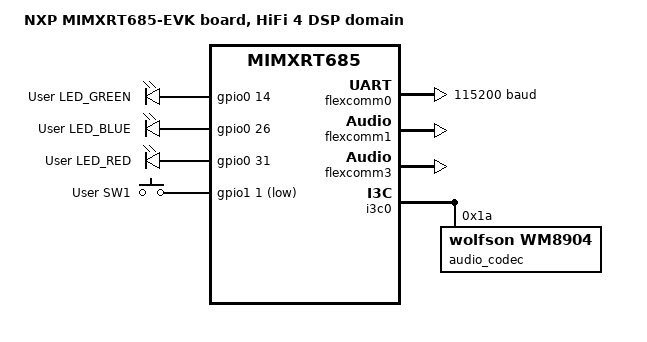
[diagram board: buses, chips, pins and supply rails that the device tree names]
/*
 * Copyright 2025 NXP
 * SPDX-License-Identifier: Apache-2.0
 */

/dts-v1/;

#include <nxp/nxp_rt685_hifi4.dtsi>
#include <zephyr/dt-bindings/gpio/gpio.h>

#include "mimxrt685_evk-pinctrl.dtsi"

/ {
	model = "NXP MIMXRT685-EVK board, HiFi 4 DSP domain";
	compatible = "nxp,mimxrt685";

	chosen {
		zephyr,console = &flexcomm0;
		zephyr,shell-uart = &flexcomm0;
	};

	aliases {
		led0 = &green_led;
		led1 = &blue_led;
		led2 = &red_led;
		sw0 = &user_button_1;
		mbox = &mbox;
	};

	leds: leds {
		compatible = "gpio-leds";

		green_led: led_1 {
			gpios = <&gpio0 14 0>;
			label = "User LED_GREEN";
		};

		blue_led: led_2 {
			gpios = <&gpio0 26 0>;
			label = "User LED_BLUE";
		};

		red_led: led_3 {
			gpios = <&gpio0 31 0>;
			label = "User LED_RED";
		};
	};

	gpio_keys {
		compatible = "gpio-keys";

		user_button_1: button_0 {
			label = "User SW1";
			gpios = <&gpio1 1 GPIO_ACTIVE_LOW>;
			zephyr,code = <INPUT_KEY_0>;
		};
	};
};

&gpio0 {
	status = "okay";
};

&dma1 {
	status = "okay";
};

&flexcomm0 {
	compatible = "nxp,lpc-usart";
	pinctrl-0 = <&pinmux_flexcomm0_usart>;
	pinctrl-names = "default";
	current-speed = <115200>;
	status = "okay";
};

/* I2S receive channel */
i2s0: &flexcomm1 {
	status = "okay";
	compatible = "nxp,lpc-i2s";
	#address-cells = <1>;
	#size-cells = <0>;
	dmas = <&dma1 2>;
	dma-names = "rx";
	pinctrl-0 = <&pinmux_flexcomm1_i2s>;
	pinctrl-names = "default";
};

/* I2S transmit channel */
i2s1: &flexcomm3 {
	status = "okay";
	compatible = "nxp,lpc-i2s";
	#address-cells = <1>;
	#size-cells = <0>;
	dmas = <&dma1 7>;
	dma-names = "tx";
	pinctrl-0 = <&pinmux_flexcomm3_i2s>;
	pinctrl-names = "default";
};

&i3c0 {
	status = "okay";
	pinctrl-0 = <&pinmux_i3c>;
	pinctrl-names = "default";

	audio_codec: wm8904@1a0000000000000000 {
		compatible = "wolfson,wm8904";
		reg = <0x1a 0 0>;
		clock-source = "MCLK";

		clocks = <&clkctl0 MCUX_AUDIO_MCLK>;
		clock-names = "mclk";
	};
};

&mbox {
	status = "okay";
};
